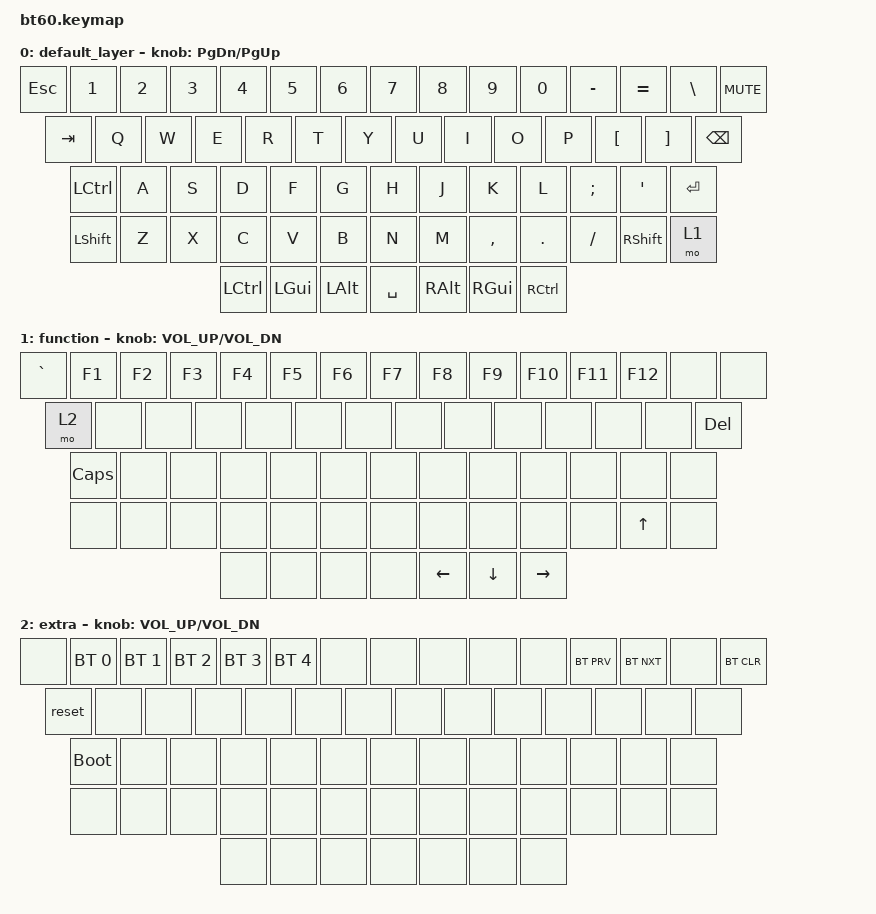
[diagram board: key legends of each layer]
#include <behaviors.dtsi>
#include <dt-bindings/zmk/keys.h>
#include <dt-bindings/zmk/bt.h>
&kscan0 {
    debounce-period = <15>;
};
/ {
	keymap {
		compatible = "zmk,keymap";

		default_layer {
				// ------------------------------------------------------------------------------------------
				// | ESC |  1  |  2  |  3  |  4  |  5  |  6  |  7  |  8  |  9  |  0  |  -  |  =  |BSLH |DEL |
				// | TAB  |  Q  |  W  |  E  |  R  |  T  |  Y  |  U  |  I  |  O  |  P  |  [  |  ]  |   "|"   |
				// |  FN  |  A  |  S  |  D  |  F  |  G  |  H  |  J  |  K  |  L  |  ;  |  '  |     ENTER     |
				// |  SHIFT    |  Z  |  X  |  C  |  V  |  B  |  N  |  M  |  ,  |  .  | /   |   SHIFT   | FN |
				// |  CTRL |  WIN  |  ALT  |                   SPACE                 |  ALT  |  WIN  | CTRL |
				// ------------------------------------------------------------------------------------------
			bindings = <
				&kp ESC &kp N1 &kp N2 &kp N3 &kp N4 &kp N5 &kp N6 &kp N7 &kp  N8   &kp  N9 &kp  N0  &kp MINUS &kp EQUAL &kp BSLH &kp C_MUTE
				&kp TAB  &kp Q  &kp W  &kp E  &kp R  &kp T  &kp Y  &kp U  &kp  I    &kp  O  &kp  P   &kp LBKT &kp RBKT  &kp BSPC
				&kp LCTRL  &kp A  &kp S  &kp D  &kp F  &kp G  &kp H  &kp J  &kp  K    &kp  L  &kp SEMI &kp SQT           &kp RET
				&kp LSHFT  &kp Z  &kp X  &kp C  &kp V  &kp B  &kp N  &kp M  &kp COMMA &kp DOT &kp FSLH    &kp RSHFT    &mo 1
				&kp LCTRL &kp LGUI &kp LALT            &kp SPACE                        	     &kp RALT &kp RGUI &kp RCTRL
			>;
			sensor-bindings = <&inc_dec_kp PG_DN PG_UP>;
		};
		function {
			bindings = <
				&kp GRAVE &kp F1 &kp F2 &kp F3 &kp F4 &kp F5 &kp F6 &kp F7 &kp F8 &kp F9 &kp F10  &kp F11 &kp F12 &none &none
				&mo 2 &none &none &none &none &none &none &none &none &none &none &none &none &kp DEL
				&kp CLCK  &none &none &none &none &none &none &none &none &none &none &none &none
				&none &none &none &none &none &none &none &none &none &none &none &kp UP  &none
				&none &none  &none                   &none              &kp LEFT &kp DOWN &kp RIGHT
			>;
			sensor-bindings = <&inc_dec_kp C_VOL_UP C_VOL_DN>;
		};
		extra {
			bindings = <
				&none &bt BT_SEL 0 &bt BT_SEL 1 &bt BT_SEL 2 &bt BT_SEL 3 &bt BT_SEL 4 &none &none &none &none &none &bt BT_PRV &bt BT_NXT &none &bt BT_CLR
				&reset &none &none &none &none &none &none &none &none &none &none &none &none &none
				&bootloader  &none &none &none &none &none &none &none &none &none &none  &none &none
				&none &none &none &none &none &none &none &none &none &none &none &none &none
				&none &none &none                     &none                            	      &none &none &none
			>;
			sensor-bindings = <&inc_dec_kp C_VOL_UP C_VOL_DN>;
		};
	};
};
